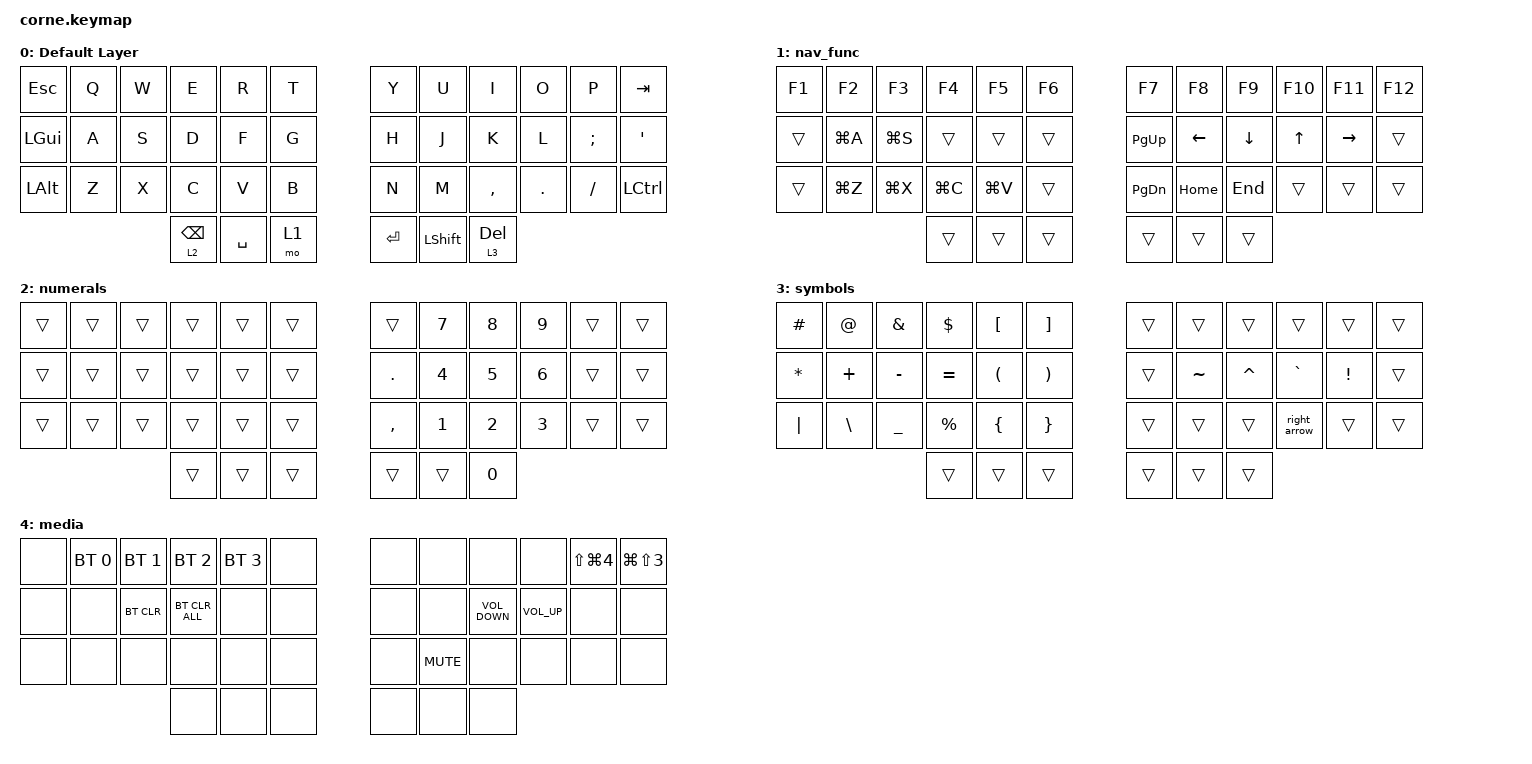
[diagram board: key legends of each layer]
/*
 * Copyright (c) 2020 The ZMK Contributors
 *
 * SPDX-License-Identifier: MIT
 */

#include <behaviors.dtsi>
#include <dt-bindings/zmk/bt.h>
#include <dt-bindings/zmk/keys.h>

&lt { flavor = "hold-preferred"; };

/ {
    behaviors {
        carret_exclamation: carret_exclamation {
            compatible = "zmk,behavior-mod-morph";
            label = "CARRET_EXCLAMATION";
            bindings = <&kp CARET>, <&kp EXCLAMATION>;

            #binding-cells = <0>;
            mods = <(MOD_LSFT)>;
        };

        tilde_grave: tilde_grave {
            compatible = "zmk,behavior-mod-morph";
            label = "TILDE_GRAVE";
            bindings = <&kp TILDE>, <&kp GRAVE>;

            #binding-cells = <0>;
            mods = <(MOD_LSFT)>;
        };
    };

    combos {
        compatible = "zmk,combos";

        combo_media_layer {
            bindings = <&mo 4>;
            key-positions = <38 36>;
        };

        combo_del {
            bindings = <&kp DELETE>;
            key-positions = <40 41>;
        };

        combo_backspace {
            bindings = <&kp BACKSPACE>;
            key-positions = <40 36>;
        };
    };

    macros {
        right_arrow: right_arrow {
            compatible = "zmk,behavior-macro";
            #binding-cells = <0>;
            bindings = <&kp MINUS &kp GREATER_THAN>;
            label = "RIGHT_ARROW";
        };
    };

    keymap {
        compatible = "zmk,keymap";

        default_layer {
            display-name = "Default Layer";

            // -----------------------------------------------------------------------------------------
            // |  TAB |  Q  |  W  |  E  |  R  |  T  |   |  Y  |  U   |  I  |  O  |  P  | BSPC |
            // | CTRL |  A  |  S  |  D  |  F  |  G  |   |  H  |  J   |  K  |  L  |  ;  |  '   |
            // | SHFT |  Z  |  X  |  C  |  V  |  B  |   |  N  |  M   |  ,  |  .  |  /  | ESC  |
            //                    | GUI | LWR | SPC |   | ENT | RSE  | ALT |

            bindings = <
&kp ESCAPE    &kp Q  &kp W  &kp E            &kp R      &kp T    &kp Y      &kp U           &kp I         &kp O    &kp P      &kp TAB
&kp LGUI      &kp A  &kp S  &kp D            &kp F      &kp G    &kp H      &kp J           &kp K         &kp L    &kp SEMI   &kp SINGLE_QUOTE
&kp LEFT_ALT  &kp Z  &kp X  &kp C            &kp V      &kp B    &kp N      &kp M           &kp COMMA     &kp DOT  &kp SLASH  &kp LEFT_CONTROL
                            &lt 2 BACKSPACE  &kp SPACE  &mo 1    &kp ENTER  &kp LEFT_SHIFT  &lt 3 DELETE
            >;
        };

        nav_func {
            bindings = <
&kp F1  &kp F2     &kp F3     &kp F4     &kp F5     &kp F6    &kp F7         &kp F8    &kp F9    &kp F10  &kp F11    &kp F12
&trans  &kp LG(A)  &kp LG(S)  &trans     &trans     &trans    &kp PAGE_UP    &kp LEFT  &kp DOWN  &kp UP   &kp RIGHT  &trans
&trans  &kp LG(Z)  &kp LG(X)  &kp LG(C)  &kp LG(V)  &trans    &kp PAGE_DOWN  &kp HOME  &kp END   &trans   &trans     &trans
                              &trans     &trans     &trans    &trans         &trans    &trans
            >;
        };

        numerals {
            bindings = <
&trans  &trans  &trans  &trans  &trans  &trans    &trans      &kp N7  &kp N8  &kp N9  &trans  &trans
&trans  &trans  &trans  &trans  &trans  &trans    &kp PERIOD  &kp N4  &kp N5  &kp N6  &trans  &trans
&trans  &trans  &trans  &trans  &trans  &trans    &kp COMMA   &kp N1  &kp N2  &kp N3  &trans  &trans
                        &trans  &trans  &trans    &trans      &trans  &kp N0
            >;
        };

        symbols {
            bindings = <
&kp HASH      &kp AT_SIGN    &kp AMPERSAND   &kp DOLLAR   &kp LBKT              &kp RBKT                 &trans  &trans     &trans     &trans        &trans           &trans
&kp ASTERISK  &kp PLUS       &kp MINUS       &kp EQUAL    &kp LEFT_PARENTHESIS  &kp RIGHT_PARENTHESIS    &trans  &kp TILDE  &kp CARET  &kp GRAVE     &kp EXCLAMATION  &trans
&kp PIPE      &kp BACKSLASH  &kp UNDERSCORE  &kp PERCENT  &kp LEFT_BRACE        &kp RIGHT_BRACE          &trans  &trans     &trans     &right_arrow  &trans           &trans
                                             &trans       &trans                &trans                   &trans  &trans     &trans
            >;
        };

        media {
            bindings = <
&none  &bt BT_SEL 0  &bt BT_SEL 1  &bt BT_SEL 2    &bt BT_SEL 3  &none    &none  &none       &none              &none            &kp LS(LG(NUMBER_4))  &kp LG(LS(NUMBER_3))
&none  &none         &bt BT_CLR    &bt BT_CLR_ALL  &none         &none    &none  &none       &kp C_VOLUME_DOWN  &kp C_VOLUME_UP  &none                 &none
&none  &none         &none         &none           &none         &none    &none  &kp C_MUTE  &none              &none            &none                 &none
                                   &none           &none         &none    &none  &none       &none
            >;
        };
    };
};
